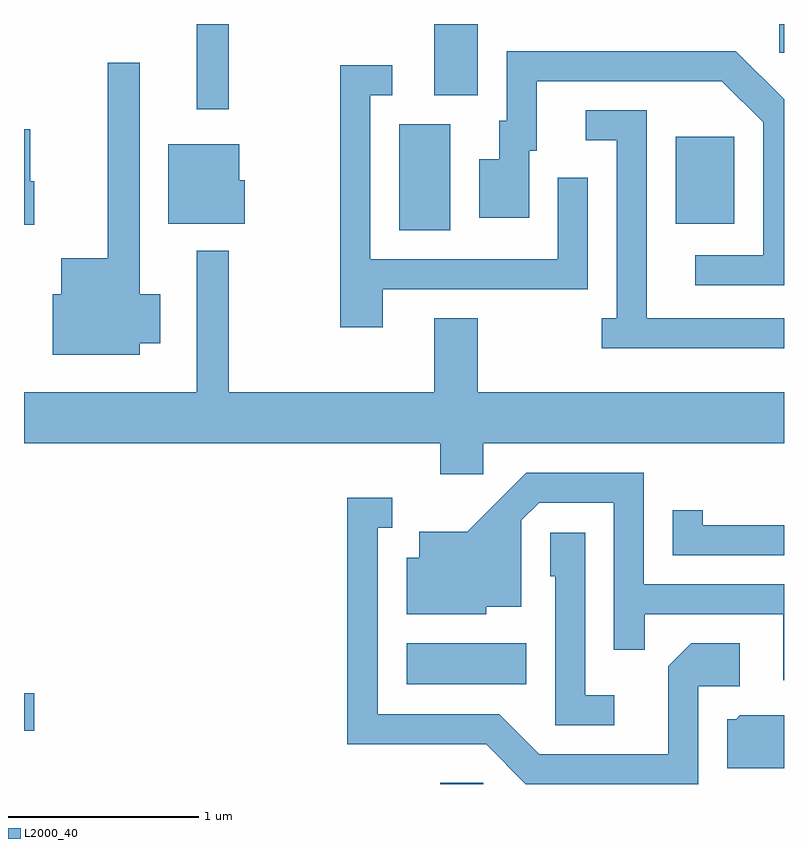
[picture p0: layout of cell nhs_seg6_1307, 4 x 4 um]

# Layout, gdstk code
import gdstk
lib = gdstk.Library(unit=1e-6, precision=1e-09)
def R(c, l, rs):  # rectangles x0, y0, x1, y1
    for r in rs: c.add(gdstk.rectangle(r[:2], r[2:], *l))
def P(c, l, *ps):  # polygons
    for p in ps: c.add(gdstk.Polygon(p, *l))
L2000_40 = (2000, 40)

nhs_seg6_1307 = lib.new_cell('nhs_seg6_1307')
R(nhs_seg6_1307, L2000_40, [(225.801,1628.162,226.029,1628.169), (223.611,1628.441,223.664,1628.639), (225.626,1628.686,226.254,1628.904), (225.586,1631.076,225.854,1631.634), (227.041,1631.111,227.349,1631.569), (224.521,1631.713,224.689,1632.162), (225.771,1631.786,225.999,1632.162), (227.586,1632.011,227.611,1632.162)])
P(nhs_seg6_1307, L2000_40, [(227.611,1631.765),(227.357,1632.019),(226.151,1632.019),(226.151,1631.654),(226.111,1631.654),(226.111,1631.449),(226.006,1631.449),(226.006,1631.141),(226.269,1631.141),(226.269,1631.496),(226.309,1631.496),(226.309,1631.861),(227.284,1631.861),(227.501,1631.644),(227.501,1630.944),(227.143,1630.944),(227.143,1630.786),(227.611,1630.786)],
  [(224.219,1630.481),(224.329,1630.481),(224.329,1630.739),(224.219,1630.739),(224.219,1631.958),(224.051,1631.958),(224.051,1630.929),(223.806,1630.929),(223.806,1630.739),(223.761,1630.739),(223.761,1630.421),(224.219,1630.421)],
  [(225.499,1630.766),(226.579,1630.766),(226.579,1631.353),(226.421,1631.353),(226.421,1630.924),(225.434,1630.924),(225.434,1631.786),(225.548,1631.786),(225.548,1631.944),(225.276,1631.944),(225.276,1630.566),(225.499,1630.566)],
  [(227.611,1630.614),(226.889,1630.614),(226.889,1631.709),(226.568,1631.709),(226.568,1631.551),(226.731,1631.551),(226.731,1630.614),(226.653,1630.614),(226.653,1630.456),(227.611,1630.456)],
  [(223.664,1631.334),(223.644,1631.334),(223.644,1631.609),(223.611,1631.609),(223.611,1631.106),(223.664,1631.106)],
  [(224.774,1631.339),(224.744,1631.339),(224.744,1631.529),(224.371,1631.529),(224.371,1631.111),(224.774,1631.111)],
  [(226.029,1629.956),(227.611,1629.956),(227.611,1630.224),(225.999,1630.224),(225.999,1630.614),(225.771,1630.614),(225.771,1630.224),(224.689,1630.224),(224.689,1630.968),(224.521,1630.968),(224.521,1630.224),(223.611,1630.224),(223.611,1629.956),(225.801,1629.956),(225.801,1629.791),(226.029,1629.791)],
  [(227.611,1629.214),(226.874,1629.214),(226.874,1629.799),(226.254,1629.799),(225.944,1629.489),(225.691,1629.489),(225.691,1629.354),(225.626,1629.354),(225.626,1629.056),(226.044,1629.056),(226.044,1629.096),(226.229,1629.096),(226.229,1629.549),(226.322,1629.641),(226.716,1629.641),(226.716,1628.868),(226.879,1628.868),(226.879,1629.056),(227.606,1629.056),(227.606,1628.708),(227.611,1628.708)],
  [(227.159,1628.676),(227.379,1628.676),(227.379,1628.904),(227.124,1628.904),(227.001,1628.782),(227.001,1628.319),(226.322,1628.319),(226.112,1628.529),(225.474,1628.529),(225.474,1629.511),(225.548,1629.511),(225.548,1629.669),(225.311,1629.669),(225.311,1628.371),(226.044,1628.371),(226.253,1628.162),(227.159,1628.162)],
  [(227.611,1629.524),(227.184,1629.524),(227.184,1629.603),(227.026,1629.603),(227.026,1629.366),(227.611,1629.366)],
  [(226.718,1628.629),(226.564,1628.629),(226.564,1629.484),(226.381,1629.484),(226.381,1629.256),(226.406,1629.256),(226.406,1628.471),(226.718,1628.471)],
  [(227.611,1628.524),(227.379,1628.524),(227.359,1628.504),(227.311,1628.504),(227.311,1628.246),(227.611,1628.246)])

lib.write_gds('nhs_seg6_1307.gds')
